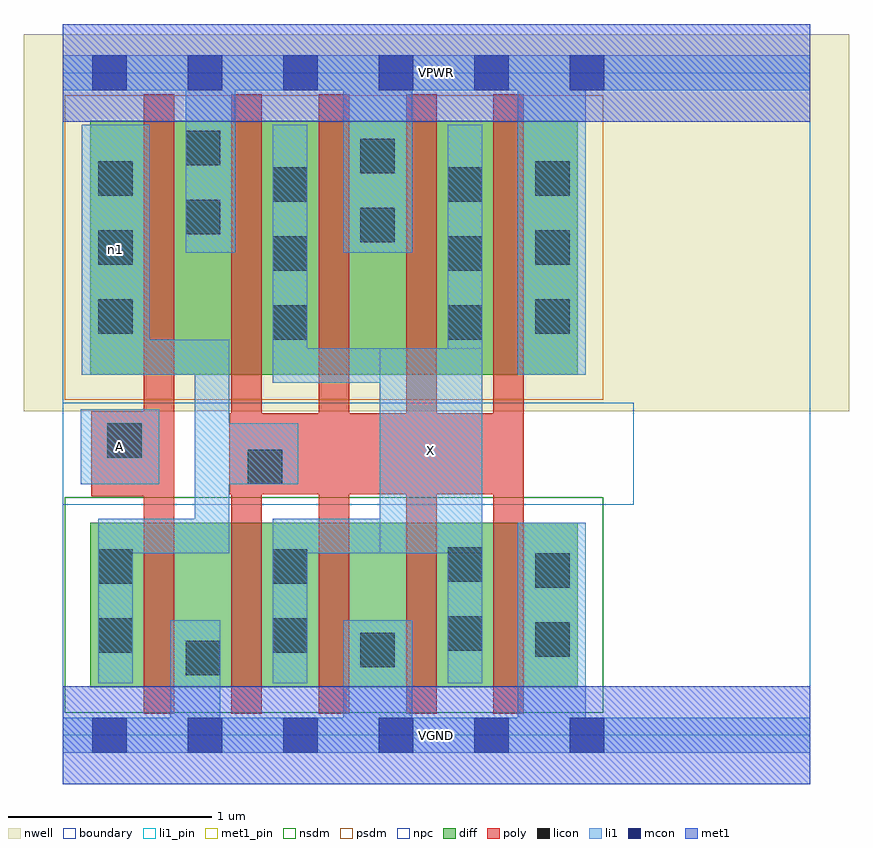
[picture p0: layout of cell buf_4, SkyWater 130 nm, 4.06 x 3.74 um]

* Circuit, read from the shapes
.subckt buf_4 A VGND VPWR X n1
XM1 VGND A n1 VSUBS sky130_fd_pr__nfet_01v8 w=0.81 l=0.15
XM2 X n1 VGND VSUBS sky130_fd_pr__nfet_01v8 w=0.81 l=0.15 m=4
XM3 VPWR A n1 n2 sky130_fd_pr__pfet_01v8 w=1.25 l=0.15
XM4 X n1 VPWR n2 sky130_fd_pr__pfet_01v8 w=1.25 l=0.15 m=4
.ends

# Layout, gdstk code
import gdstk
lib = gdstk.Library(unit=1e-6, precision=1e-09)
def R(c, l, rs):  # rectangles x0, y0, x1, y1
    for r in rs: c.add(gdstk.rectangle(r[:2], r[2:], *l))
def A(c, l, x, y, w, h, nx, ny, dx, dy):  # array of equal rectangles
    R(c, l, [(x+i*dx, y+j*dy, x+i*dx+w, y+j*dy+h) for i in range(nx) for j in range(ny)])
nwell = (64, 20)
diff = (65, 20)
poly = (66, 20)
licon = (66, 44)
li1_pin = (67, 16)
li1 = (67, 20)
mcon = (67, 44)
met1_pin = (68, 16)
met1 = (68, 20)
nsdm = (93, 44)
psdm = (94, 20)
npc = (95, 20)
boundary = (235, 4)

buf_4 = lib.new_cell('buf_4')
R(buf_4, nwell, [(-0.19,1.595,3.87,3.45), (0,1.595,3.68,3.45)])
R(buf_4, diff, [(0.135,0.235,2.535,1.045), (0.135,1.775,2.535,3.025)])
A(buf_4, poly, 0.4, 0.105, 0.15, 3.05, 5, 1, 0.43, 0)
R(buf_4, poly, [(0.14,1.175,0.55,1.595), (0.82,1.185,2.27,1.585)])
A(buf_4, licon, 1.035, 1.945, 0.17, 0.17, 1, 3, 0, 0.34)
A(buf_4, licon, 1.895, 1.945, 0.17, 0.17, 1, 3, 0, 0.34)
A(buf_4, licon, 0.175, 1.975, 0.17, 0.17, 1, 3, 0, 0.34)
A(buf_4, licon, 2.325, 1.975, 0.17, 0.17, 1, 3, 0, 0.34)
R(buf_4, licon, [(0.605,0.295,0.775,0.465), (1.465,0.335,1.635,0.505), (2.325,0.385,2.495,0.555), (0.175,0.405,0.345,0.575), (1.035,0.405,1.205,0.575), (1.895,0.415,2.065,0.585), (2.325,0.725,2.495,0.895), (0.175,0.745,0.345,0.915), (1.035,0.745,1.205,0.915), (1.895,0.755,2.065,0.925), (0.91,1.235,1.08,1.405), (0.22,1.365,0.39,1.535), (1.465,2.425,1.635,2.595), (0.605,2.465,0.775,2.635), (1.465,2.765,1.635,2.935), (0.605,2.805,0.775,2.975)])
R(buf_4, li1_pin, [(1.56,0.895,2.065,1.905), (0.09,1.235,0.475,1.605)])
R(buf_4, li1, [(0,-0.085,3.68,0.085), (0.53,-0.085,0.775,0.565), (1.38,-0.085,1.72,0.565), (2.24,-0.085,2.575,1.045), (0.175,0.255,0.345,1.065), (1.035,0.255,1.205,1.065), (1.895,0.255,2.065,3.005), (0.175,0.895,0.82,1.065), (0.65,0.895,0.82,1.945), (1.035,0.895,2.065,1.065), (1.56,0.895,2.065,1.905), (0.09,1.235,0.475,1.605), (0.65,1.235,1.16,1.535), (1.035,1.735,2.065,1.905), (1.035,1.735,1.205,3.005), (0.095,1.775,0.43,3.005), (0.095,1.775,0.82,1.945), (2.24,1.775,2.575,3.345), (0.605,2.375,0.85,3.345), (1.38,2.375,1.72,3.345), (0,3.175,3.68,3.345)])
A(buf_4, mcon, 0.145, -0.085, 0.17, 0.17, 6, 2, 0.47, 3.26)
R(buf_4, met1_pin, [(0,-0.24,3.68,0.24), (0,3.02,3.68,3.5)])
R(buf_4, met1, [(0,-0.24,3.68,0.24), (0,3.02,3.68,3.5)])
R(buf_4, nsdm, [(0.01,0.11,2.66,1.17)])
R(buf_4, psdm, [(0.01,1.65,2.66,3.15)])
R(buf_4, npc, [(0,1.135,2.81,1.635)])
R(buf_4, boundary, [(0,0,3.68,3.26)])
buf_4.add(gdstk.Label('A', (0.282,1.42), layer=67, texttype=5))
buf_4.add(gdstk.Label('X', (1.812,1.4), layer=67, texttype=5))
buf_4.add(gdstk.Label('n1', (0.262,2.39), layer=67, texttype=5))
buf_4.add(gdstk.Label('VPWR', (1.84,3.26), layer=68, texttype=5))
buf_4.add(gdstk.Label('VGND', (1.84,0), layer=68, texttype=5))
buf_4.add(gdstk.Label('A', (0.282,1.42), layer=67, texttype=16))
buf_4.add(gdstk.Label('X', (1.812,1.4), layer=67, texttype=16))
buf_4.add(gdstk.Label('VPWR', (1.84,3.26), layer=68, texttype=16))
buf_4.add(gdstk.Label('VGND', (1.84,0), layer=68, texttype=16))

lib.write_gds('buf_4.gds')
